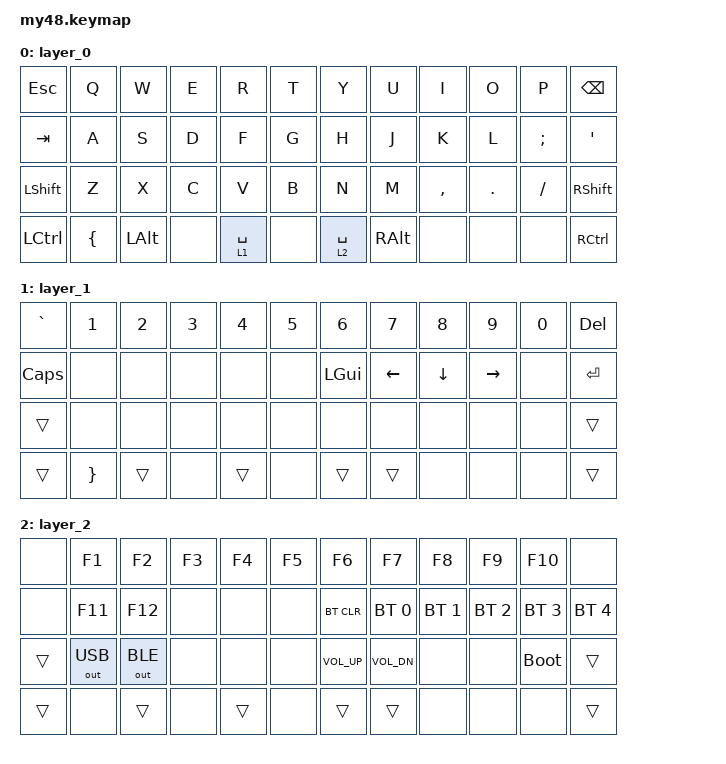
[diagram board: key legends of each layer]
#include <dt-bindings/zmk/keys.h>
#include <dt-bindings/zmk/bt.h>        // 蓝牙行为头文件
#include <dt-bindings/zmk/outputs.h>   // ⚠️ 核心修复：加入输出模式切换头文件！
#include <behaviors.dtsi>
/ {
    keymap {
        compatible = "zmk,keymap";

        layer_0 {
            bindings = <
                &kp ESC    &kp Q      &kp W    &kp E     &kp R        &kp T     &kp Y         &kp U     &kp I     &kp O    &kp P     &kp BSPC
                &kp TAB    &kp A      &kp S    &kp D     &kp F        &kp G     &kp H         &kp J     &kp K     &kp L    &kp SEMI  &kp SQT
                &kp LSHFT  &kp Z      &kp X    &kp C     &kp V        &kp B     &kp N         &kp M     &kp COMMA &kp DOT  &kp FSLH  &kp RSHFT
                &kp LCTRL  &kp LBRC  &kp LALT &none     &lt 1 SPACE  &none     &lt 2 SPACE   &kp RALT  &none     &none    &none     &kp RCTRL
            >;
        };

        layer_1 {
            bindings = <
                &kp GRAVE &kp N1 &kp N2 &kp N3 &kp N4 &kp N5 &kp N6 &kp N7 &kp N8 &kp N9 &kp N0 &kp DEL
                &kp CAPS &none &none &none &none &none &kp LGUI &kp LEFT &kp DOWN &kp RIGHT &none &kp ENTER
                &trans &none &none &none &none &none &none &none &none &none &none &trans
                &trans &kp RBRC &trans &none &trans &none &trans &trans &none &none &none &trans
            >;
        };

        layer_2 {
            bindings = <
                &none &kp F1 &kp F2 &kp F3 &kp F4 &kp F5 &kp F6 &kp F7 &kp F8 &kp F9 &kp F10 &none
                &none &kp F11 &kp F12 &none &none &none &bt BT_CLR &bt BT_SEL 0 &bt BT_SEL 1 &bt BT_SEL 2 &bt BT_SEL 3 &bt BT_SEL 4
                &trans &out OUT_USB &out OUT_BLE &none &none &none &kp C_VOL_UP &kp C_VOL_DN &none &none &bootloader &trans
                &trans &none &trans &none &trans &none &trans &trans &none &none &none &trans
            >;
        };
    };
};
